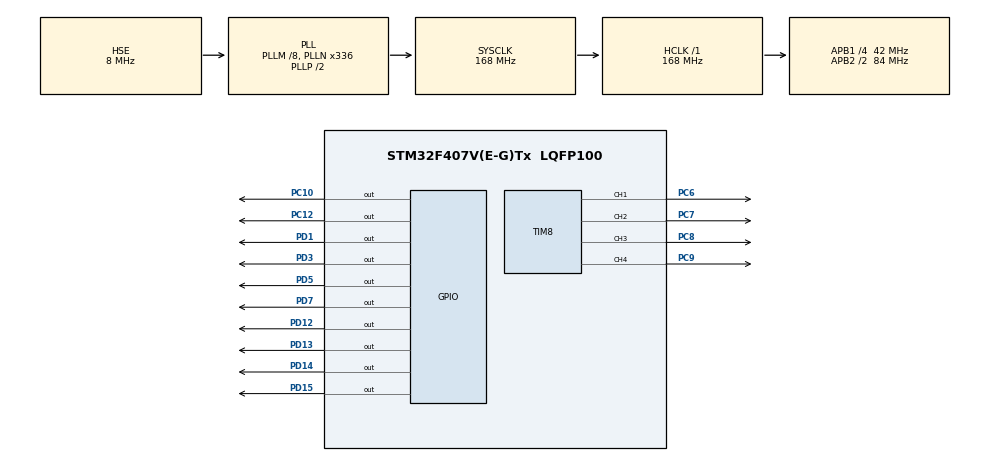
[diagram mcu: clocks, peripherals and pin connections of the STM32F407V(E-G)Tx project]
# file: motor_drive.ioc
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Mcu.Family=STM32F4
Mcu.Name=STM32F407V(E-G)Tx
Mcu.Package=LQFP100
NVIC.PriorityGroup=NVIC_PRIORITYGROUP_0
PA13.Mode=Trace_Asynchronous_SW
PA13.Signal=SYS_JTMS-SWDIO
PA14.Mode=Trace_Asynchronous_SW
PA14.Signal=SYS_JTCK-SWCLK
PB3.Mode=Trace_Asynchronous_SW
PB3.Signal=SYS_JTDO-SWO
PC10.Signal=GPIO_Output
PC12.Signal=GPIO_Output
PC6.Signal=S_TIM8_CH1
PC7.Signal=S_TIM8_CH2
PC8.Signal=S_TIM8_CH3
PC9.Signal=S_TIM8_CH4
PD1.Signal=GPIO_Output
PD12.Signal=GPIO_Output
PD13.Signal=GPIO_Output
PD14.Signal=GPIO_Output
PD15.Signal=GPIO_Output
PD3.Signal=GPIO_Output
PD5.Signal=GPIO_Output
PD7.Signal=GPIO_Output
PH0-OSC_IN.Mode=HSE-External-Oscillator
PH0-OSC_IN.Signal=RCC_OSC_IN
PH1-OSC_OUT.Mode=HSE-External-Oscillator
PH1-OSC_OUT.Signal=RCC_OSC_OUT
ProjectManager.HeapSize=0x200
ProjectManager.StackSize=0x400
ProjectManager.TargetToolchain=MDK-ARM V5
RCC.48MHZClocksFreq_Value=48000000
RCC.AHBFreq_Value=168000000
RCC.APB1CLKDivider=RCC_HCLK_DIV4
RCC.APB1Freq_Value=42000000
RCC.APB1TimFreq_Value=84000000
RCC.APB2CLKDivider=RCC_HCLK_DIV2
RCC.APB2Freq_Value=84000000
RCC.APB2TimFreq_Value=168000000
RCC.CortexFreq_Value=168000000
RCC.HCLKFreq_Value=168000000
RCC.HSE_VALUE=8000000
RCC.HSI_VALUE=16000000
RCC.LSE_VALUE=32768
RCC.PLLM=8
RCC.PLLN=336
RCC.PLLQ=7
RCC.PLLSourceVirtual=RCC_PLLSOURCE_HSE
RCC.SYSCLKFreq_VALUE=168000000
RCC.SYSCLKSource=RCC_SYSCLKSOURCE_PLLCLK
RCC.VCOOutputFreq_Value=336000000
SH.S_TIM8_CH1.0=TIM8_CH1,PWM Generation1 CH1
SH.S_TIM8_CH2.0=TIM8_CH2,PWM Generation2 CH2
SH.S_TIM8_CH3.0=TIM8_CH3,PWM Generation3 CH3
SH.S_TIM8_CH4.0=TIM8_CH4,PWM Generation4 CH4
TIM8.Channel-PWM\ Generation1\ CH1=TIM_CHANNEL_1
TIM8.Channel-PWM\ Generation2\ CH2=TIM_CHANNEL_2
TIM8.Channel-PWM\ Generation3\ CH3=TIM_CHANNEL_3
TIM8.Channel-PWM\ Generation4\ CH4=TIM_CHANNEL_4
VP_TIM8_VS_ClockSourceINT.Mode=Internal
board=STM32F4DISCOVERY

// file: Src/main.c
/**
  ******************************************************************************
  * File Name          : main.c
  * Description        : Main program body
  ******************************************************************************
  ** This notice applies to any and all portions of this file
  * that are not between comment pairs USER CODE BEGIN and
  * USER CODE END. Other portions of this file, whether
  * inserted by the user or by software development tools
  * are owned by their respective copyright owners.
  *
  * COPYRIGHT(c) 2018 STMicroelectronics
  *
  * Redistribution and use in source and binary forms, with or without modification,
  * are permitted provided that the following conditions are met:
  *   1. Redistributions of source code must retain the above copyright notice,
  *      this list of conditions and the following disclaimer.
  *   2. Redistributions in binary form must reproduce the above copyright notice,
  *      this list of conditions and the following disclaimer in the documentation
  *      and/or other materials provided with the distribution.
  *   3. Neither the name of STMicroelectronics nor the names of its contributors
  *      may be used to endorse or promote products derived from this software
  *      without specific prior written permission.
  *
  * THIS SOFTWARE IS PROVIDED BY THE COPYRIGHT HOLDERS AND CONTRIBUTORS "AS IS"
  * AND ANY EXPRESS OR IMPLIED WARRANTIES, INCLUDING, BUT NOT LIMITED TO, THE
  * IMPLIED WARRANTIES OF MERCHANTABILITY AND FITNESS FOR A PARTICULAR PURPOSE ARE
  * DISCLAIMED. IN NO EVENT SHALL THE COPYRIGHT HOLDER OR CONTRIBUTORS BE LIABLE
  * FOR ANY DIRECT, INDIRECT, INCIDENTAL, SPECIAL, EXEMPLARY, OR CONSEQUENTIAL
  * DAMAGES (INCLUDING, BUT NOT LIMITED TO, PROCUREMENT OF SUBSTITUTE GOODS OR
  * SERVICES; LOSS OF USE, DATA, OR PROFITS; OR BUSINESS INTERRUPTION) HOWEVER
  * CAUSED AND ON ANY THEORY OF LIABILITY, WHETHER IN CONTRACT, STRICT LIABILITY,
  * OR TORT (INCLUDING NEGLIGENCE OR OTHERWISE) ARISING IN ANY WAY OUT OF THE USE
  * OF THIS SOFTWARE, EVEN IF ADVISED OF THE POSSIBILITY OF SUCH DAMAGE.
  *
  ******************************************************************************
  */
#include "main.h"
#include "stm32f4xx_hal.h"

/* USER CODE BEGIN Includes */
#include "timer.h"
#include "pwm.h"
#include "defines.h"
/* USER CODE END Includes */

//TIM_HandleTypeDef htim8;

/* USER CODE BEGIN PV */
/* Private variables ---------------------------------------------------------*/

/* USER CODE END PV */

void SystemClock_Config(void);
static void MX_GPIO_Init(void);
static void MX_TIM8_Init(void);
void HAL_TIM_MspPostInit(TIM_HandleTypeDef *htim);

/* USER CODE BEGIN PFP */
/* Private function prototypes -----------------------------------------------*/

/* USER CODE END PFP */

int main(void)
{

  /* MCU Configuration----------------------------------------------------------*/

  /* Reset of all peripherals, Initializes the Flash interface and the Systick. */
  HAL_Init();

  /* Configure the system clock */
  SystemClock_Config();

  /* Initialize all configured peripherals */
  MX_GPIO_Init();
  MX_TIM8_Init();

  /* USER CODE BEGIN 2 */
	HAL_Delay(3000);
	HAL_TIM_Base_Start(&htim8);

	set_DutyCycle(&htim8, TIM_CHANNEL_1, 0);
	set_DutyCycle(&htim8, TIM_CHANNEL_2, 0);
	set_DutyCycle(&htim8, TIM_CHANNEL_3, 0);
	set_DutyCycle(&htim8, TIM_CHANNEL_4, 10000);

	HAL_GPIO_WritePin(GPIOD,GPIO_PIN_1,GPIO_PIN_SET);
	HAL_GPIO_WritePin(GPIOD,GPIO_PIN_3,GPIO_PIN_RESET);

	HAL_GPIO_WritePin(GPIOD,GPIO_PIN_5,GPIO_PIN_SET);
	HAL_GPIO_WritePin(GPIOD,GPIO_PIN_14,GPIO_PIN_RESET);

	HAL_GPIO_WritePin(GPIOD,GPIO_PIN_15,GPIO_PIN_SET);
	HAL_GPIO_WritePin(GPIOD,GPIO_PIN_7,GPIO_PIN_RESET);

	HAL_GPIO_WritePin(GPIOC,GPIO_PIN_10,GPIO_PIN_SET);
	HAL_GPIO_WritePin(GPIOC,GPIO_PIN_12,GPIO_PIN_RESET);

	HAL_TIM_PWM_Start(&htim8, TIM_CHANNEL_1);
	HAL_TIM_PWM_Start(&htim8, TIM_CHANNEL_2);
	HAL_TIM_PWM_Start(&htim8, TIM_CHANNEL_3);
	HAL_TIM_PWM_Start(&htim8, TIM_CHANNEL_4);
  /* USER CODE END 2 */

  /* Infinite loop */
  while (1)
  {

  }

}

/** System Clock Configuration
*/
void SystemClock_Config(void)
{

  RCC_OscInitTypeDef RCC_OscInitStruct;
  RCC_ClkInitTypeDef RCC_ClkInitStruct;

    /**Configure the main internal regulator output voltage
    */
  __HAL_RCC_PWR_CLK_ENABLE();

  __HAL_PWR_VOLTAGESCALING_CONFIG(PWR_REGULATOR_VOLTAGE_SCALE1);

    /**Initializes the CPU, AHB and APB busses clocks
    */
  RCC_OscInitStruct.OscillatorType = RCC_OSCILLATORTYPE_HSE;
  RCC_OscInitStruct.HSEState = RCC_HSE_ON;
  RCC_OscInitStruct.PLL.PLLState = RCC_PLL_ON;
  RCC_OscInitStruct.PLL.PLLSource = RCC_PLLSOURCE_HSE;
  RCC_OscInitStruct.PLL.PLLM = 8;
  RCC_OscInitStruct.PLL.PLLN = 336;
  RCC_OscInitStruct.PLL.PLLP = RCC_PLLP_DIV2;
  RCC_OscInitStruct.PLL.PLLQ = 7;
  if (HAL_RCC_OscConfig(&RCC_OscInitStruct) != HAL_OK)
  {
    _Error_Handler(__FILE__, __LINE__);
  }

    /**Initializes the CPU, AHB and APB busses clocks
    */
  RCC_ClkInitStruct.ClockType = RCC_CLOCKTYPE_HCLK|RCC_CLOCKTYPE_SYSCLK
                              |RCC_CLOCKTYPE_PCLK1|RCC_CLOCKTYPE_PCLK2;
  RCC_ClkInitStruct.SYSCLKSource = RCC_SYSCLKSOURCE_PLLCLK;
  RCC_ClkInitStruct.AHBCLKDivider = RCC_SYSCLK_DIV1;
  RCC_ClkInitStruct.APB1CLKDivider = RCC_HCLK_DIV4;
  RCC_ClkInitStruct.APB2CLKDivider = RCC_HCLK_DIV2;

  if (HAL_RCC_ClockConfig(&RCC_ClkInitStruct, FLASH_LATENCY_5) != HAL_OK)
  {
    _Error_Handler(__FILE__, __LINE__);
  }

    /**Configure the Systick interrupt time
    */
  HAL_SYSTICK_Config(HAL_RCC_GetHCLKFreq()/1000);

    /**Configure the Systick
    */
  HAL_SYSTICK_CLKSourceConfig(SYSTICK_CLKSOURCE_HCLK);

  /* SysTick_IRQn interrupt configuration */
  HAL_NVIC_SetPriority(SysTick_IRQn, 0, 0);
}

/* TIM8 init function */
static void MX_TIM8_Init(void)
{

  TIM_ClockConfigTypeDef sClockSourceConfig;
  TIM_MasterConfigTypeDef sMasterConfig;
  TIM_OC_InitTypeDef sConfigOC;
  TIM_BreakDeadTimeConfigTypeDef sBreakDeadTimeConfig;

  htim8.Instance = TIM8;
  htim8.Init.Prescaler = 0;
  htim8.Init.CounterMode = TIM_COUNTERMODE_UP;
  htim8.Init.Period = 0;
  htim8.Init.ClockDivision = TIM_CLOCKDIVISION_DIV1;
  htim8.Init.RepetitionCounter = 0;
  if (HAL_TIM_Base_Init(&htim8) != HAL_OK)
  {
    _Error_Handler(__FILE__, __LINE__);
  }

  sClockSourceConfig.ClockSource = TIM_CLOCKSOURCE_INTERNAL;
  if (HAL_TIM_ConfigClockSource(&htim8, &sClockSourceConfig) != HAL_OK)
  {
    _Error_Handler(__FILE__, __LINE__);
  }

  if (HAL_TIM_PWM_Init(&htim8) != HAL_OK)
  {
    _Error_Handler(__FILE__, __LINE__);
  }

  sMasterConfig.MasterOutputTrigger = TIM_TRGO_RESET;
  sMasterConfig.MasterSlaveMode = TIM_MASTERSLAVEMODE_DISABLE;
  if (HAL_TIMEx_MasterConfigSynchronization(&htim8, &sMasterConfig) != HAL_OK)
  {
    _Error_Handler(__FILE__, __LINE__);
  }

  sConfigOC.OCMode = TIM_OCMODE_PWM1;
  sConfigOC.Pulse = 0;
  sConfigOC.OCPolarity = TIM_OCPOLARITY_HIGH;
  sConfigOC.OCNPolarity = TIM_OCNPOLARITY_HIGH;
  sConfigOC.OCFastMode = TIM_OCFAST_DISABLE;
  sConfigOC.OCIdleState = TIM_OCIDLESTATE_RESET;
  sConfigOC.OCNIdleState = TIM_OCNIDLESTATE_RESET;
  if (HAL_TIM_PWM_ConfigChannel(&htim8, &sConfigOC, TIM_CHANNEL_1) != HAL_OK)
  {
    _Error_Handler(__FILE__, __LINE__);
  }

  if (HAL_TIM_PWM_ConfigChannel(&htim8, &sConfigOC, TIM_CHANNEL_2) != HAL_OK)
  {
    _Error_Handler(__FILE__, __LINE__);
  }

  if (HAL_TIM_PWM_ConfigChannel(&htim8, &sConfigOC, TIM_CHANNEL_3) != HAL_OK)
  {
    _Error_Handler(__FILE__, __LINE__);
  }

  if (HAL_TIM_PWM_ConfigChannel(&htim8, &sConfigOC, TIM_CHANNEL_4) != HAL_OK)
  {
    _Error_Handler(__FILE__, __LINE__);
  }

  sBreakDeadTimeConfig.OffStateRunMode = TIM_OSSR_DISABLE;
  sBreakDeadTimeConfig.OffStateIDLEMode = TIM_OSSI_DISABLE;
  sBreakDeadTimeConfig.LockLevel = TIM_LOCKLEVEL_OFF;
  sBreakDeadTimeConfig.DeadTime = 0;
  sBreakDeadTimeConfig.BreakState = TIM_BREAK_DISABLE;
  sBreakDeadTimeConfig.BreakPolarity = TIM_BREAKPOLARITY_HIGH;
  sBreakDeadTimeConfig.AutomaticOutput = TIM_AUTOMATICOUTPUT_DISABLE;
  if (HAL_TIMEx_ConfigBreakDeadTime(&htim8, &sBreakDeadTimeConfig) != HAL_OK)
  {
    _Error_Handler(__FILE__, __LINE__);
  }

  HAL_TIM_MspPostInit(&htim8);

}

/** Configure pins as
        * Analog
        * Input
        * Output
        * EVENT_OUT
        * EXTI
*/
static void MX_GPIO_Init(void)
{

  GPIO_InitTypeDef GPIO_InitStruct;

  /* GPIO Ports Clock Enable */
  __HAL_RCC_GPIOH_CLK_ENABLE();
  __HAL_RCC_GPIOD_CLK_ENABLE();
  __HAL_RCC_GPIOC_CLK_ENABLE();
  __HAL_RCC_GPIOA_CLK_ENABLE();
  __HAL_RCC_GPIOB_CLK_ENABLE();

  /*Configure GPIO pin Output Level */
  HAL_GPIO_WritePin(GPIOD, GPIO_PIN_12|GPIO_PIN_13|GPIO_PIN_14|GPIO_PIN_15
                          |GPIO_PIN_1|GPIO_PIN_3|GPIO_PIN_5|GPIO_PIN_7, GPIO_PIN_RESET);

  /*Configure GPIO pin Output Level */
  HAL_GPIO_WritePin(GPIOC, GPIO_PIN_10|GPIO_PIN_12, GPIO_PIN_RESET);

  /*Configure GPIO pins : PD12 PD13 PD14 PD15
                           PD1 PD3 PD5 PD7 */
  GPIO_InitStruct.Pin = GPIO_PIN_12|GPIO_PIN_13|GPIO_PIN_14|GPIO_PIN_15
                          |GPIO_PIN_1|GPIO_PIN_3|GPIO_PIN_5|GPIO_PIN_7;
  GPIO_InitStruct.Mode = GPIO_MODE_OUTPUT_PP;
  GPIO_InitStruct.Pull = GPIO_NOPULL;
  GPIO_InitStruct.Speed = GPIO_SPEED_FREQ_LOW;
  HAL_GPIO_Init(GPIOD, &GPIO_InitStruct);

  /*Configure GPIO pins : PC10 PC12 */
  GPIO_InitStruct.Pin = GPIO_PIN_10|GPIO_PIN_12;
  GPIO_InitStruct.Mode = GPIO_MODE_OUTPUT_PP;
  GPIO_InitStruct.Pull = GPIO_NOPULL;
  GPIO_InitStruct.Speed = GPIO_SPEED_FREQ_LOW;
  HAL_GPIO_Init(GPIOC, &GPIO_InitStruct);

}

void _Error_Handler(char * file, int line)
{
  while(1)
  {
  }
}

/************************ (C) COPYRIGHT STMicroelectronics *****END OF FILE****/
